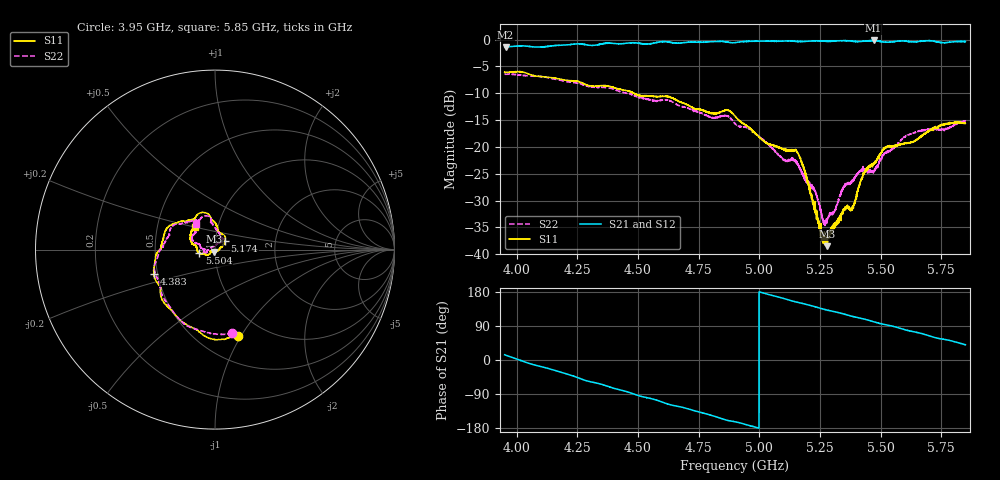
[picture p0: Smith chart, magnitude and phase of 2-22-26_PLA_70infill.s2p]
# GHZ S RI R 50.000000000000
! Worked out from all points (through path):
!   4501 points, 3.95 GHz to 5.85 GHz, reference 50 ohm
!   highest |S21| = -0.17 dB at 5.471 GHz (marker M1); lowest = -1.5 dB at 3.954 GHz (marker M2)
!   group delay of S21, straight-line fit = 483 ps
!   lowest |S11| = -38.5 dB at 5.281 GHz (marker M3), VSWR 1.02, Z = 49.7 - j1.14 ohm
!   |S11| at or under -10 dB: 4.483 GHz to end of sweep
!   |S22| runs from -34.7 to -6.4 dB; largest |S21 - S12| = 0.038
!   S11 on the Smith chart (normalised r, x): 3.95 GHz: 0.76, -0.97; 4.383 GHz: 0.48, -0.15; 5.174 GHz: 1.11, +0.10; 5.504 GHz: 0.84, -0.03; 5.85 GHz: 0.78, +0.20
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3.95  0.1286 -0.4797  0.8218 0.204  0.8128 0.1984  0.0971 -0.4663
3.9538  0.1185 -0.4808  0.8241 0.19  0.8121 0.193  0.0842 -0.4668
4.045422  -0.0649 -0.4752  0.8569 -0.1188  0.871 -0.1036  -0.0754 -0.4523
4.267089  -0.3011 -0.2586  0.5822 -0.6993  0.5966 -0.6995  -0.2987 -0.2405
4.382778  -0.3402 -0.134  0.3009 -0.8727  0.3155 -0.8561  -0.3385 -0.1
4.583756  -0.2866 0.0667  -0.2812 -0.9022  -0.2589 -0.9003  -0.2542 0.0887
4.728156  -0.1686 0.1566  -0.645 -0.6912  -0.6349 -0.6924  -0.1577 0.1509
4.9  -0.0308 0.1907  -0.8959 -0.2757  -0.8944 -0.2808  -0.0214 0.1629
5.024133  0.0151 0.1096  -0.9652 0.0767  -0.9624 0.056  0.00798 0.1117
5.149956  0.0545 0.0752  -0.86 0.431  -0.8664 0.4179  0.0457 0.057
5.1736  0.056 0.0469  -0.8303 0.4803  -0.8324 0.4673  0.0385 0.0421
5.217089  0.0315 0.00979  -0.774 0.5869  -0.7806 0.5688  0.0187 0.0392
5.258889  0.0101 -0.00875  -0.688 0.6824  -0.7034 0.6664  0.000751 0.0225
5.281267  -0.00305 -0.0115  -0.6399 0.7156  -0.6549 0.7106  -0.0136 0.0166
5.355156  -0.0236 -0.0105  -0.4903 0.8432  -0.498 0.8362  -0.0434 -0.00551
5.385556  -0.0235 -0.0124  -0.4056 0.8777  -0.42 0.8702  -0.0469 -0.0131
5.428622  -0.0483 -0.0287  -0.3095 0.9147  -0.3347 0.905  -0.0613 -0.00862
5.471267  -0.0676 -0.0202  -0.1869 0.9627  -0.2108 0.9577  -0.062 0.00227
5.503778  -0.0867 -0.0185  -0.0894 0.9499  -0.1102 0.9558  -0.0786 0.00906
5.533756  -0.1015 0.00159  -0.0232 0.9436  -0.0394 0.945  -0.0862 0.0297
5.685333  -0.1293 0.0378  0.3809 0.897  0.3588 0.902  -0.1288 0.0648
5.85  -0.1093 0.1242  0.7311 0.6202  0.7169 0.6356  -0.1044 0.1404
